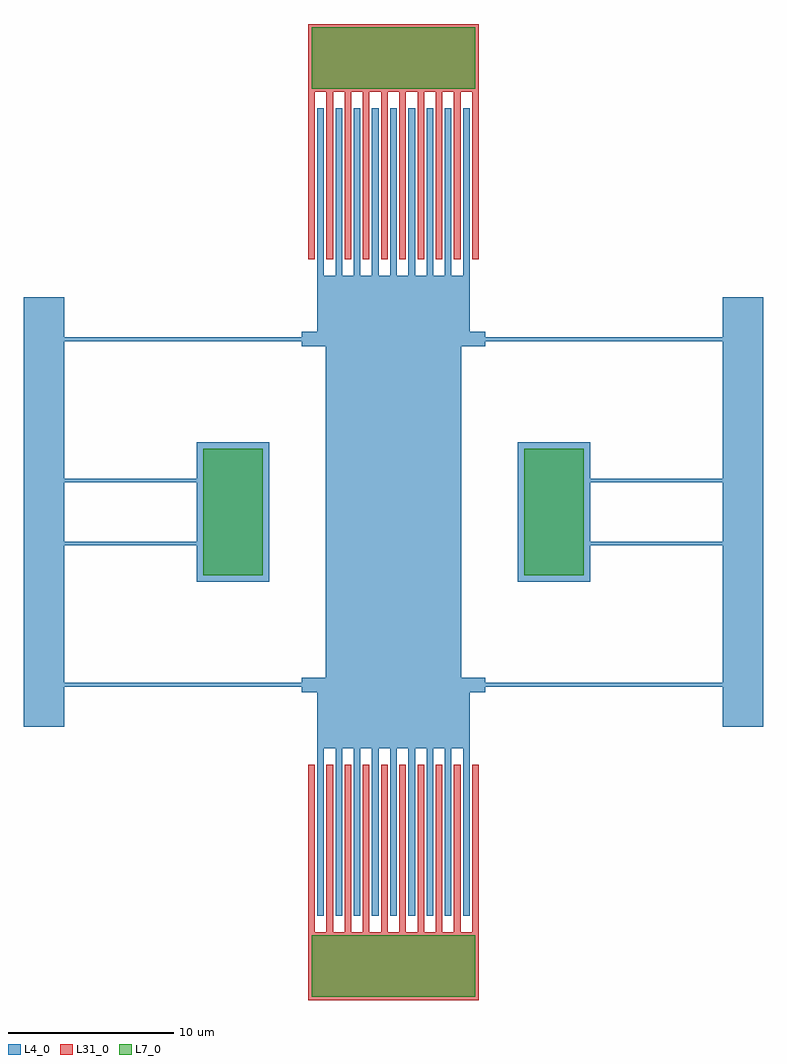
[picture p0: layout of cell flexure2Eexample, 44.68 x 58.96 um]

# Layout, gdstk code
import gdstk
lib = gdstk.Library(unit=1e-6, precision=1e-09)
def R(c, l, rs):  # rectangles x0, y0, x1, y1
    for r in rs: c.add(gdstk.rectangle(r[:2], r[2:], *l))
def P(c, l, *ps):  # polygons
    for p in ps: c.add(gdstk.Polygon(p, *l))
L4_0 = (4, 0)
L7_0 = (7, 0)
L31_0 = (31, 0)

flexure2eexample = lib.new_cell('flexure2Eexample')
P(flexure2eexample, L4_0, [(-22.34,-12.97),(-22.34,-10.33),(-5.54,-10.33),(19.9,-10.33),(19.9,-2),(11.9,-2),(11.9,-4.22),(7.5,-4.22),(7.5,-1.8),(19.9,-1.8),(19.9,1.8),(11.9,1.8),(11.9,-1.8),(7.5,-1.8),(7.5,4.22),(11.9,4.22),(11.9,2),(19.9,2),(19.9,10.33),(5.54,10.33),(5.54,10),(4.1,10),(4.1,-10),(5.54,-10),(5.54,-10.33),(-5.54,-10.33),(-5.54,-10),(-4.1,-10),(-4.1,10),(-5.54,10),(-5.54,10.33),(-19.9,10.33),(-19.9,2),(-11.9,2),(-11.9,4.22),(-7.5,4.22),(-7.5,-4.22),(-11.9,-4.22),(-11.9,-2),(-19.9,-2),(-19.9,-10.33),(-22.34,-10.33),(-22.34,-1.8),(-11.9,-1.8),(-11.9,1.8),(-19.9,1.8),(-19.9,-1.8),(-22.34,-1.8),(-22.34,12.97),(-19.9,12.97),(-19.9,10.55),(-5.54,10.55),(-5.54,10.88),(5.54,10.88),(5.54,10.55),(19.9,10.55),(19.9,12.97),(22.34,12.97),(22.34,-12.97),(19.9,-12.97),(19.9,-10.55),(5.54,-10.55),(5.54,-10.88),(-5.54,-10.88),(-5.54,-10.55),(-19.9,-10.55),(-19.9,-12.97)],
  [(-4.6,10.88),(-4.6,24.38),(-4.2,24.38),(-4.2,14.28),(-3.5,14.28),(-3.5,24.38),(-3.1,24.38),(-3.1,14.28),(-2.4,14.28),(-2.4,24.38),(-2,24.38),(-2,14.28),(-1.3,14.28),(-1.3,24.38),(-0.9,24.38),(-0.9,14.28),(-0.2,14.28),(-0.2,24.38),(0.2,24.38),(0.2,14.28),(0.9,14.28),(0.9,24.38),(1.3,24.38),(1.3,14.28),(2,14.28),(2,24.38),(2.4,24.38),(2.4,14.28),(3.1,14.28),(3.1,24.38),(3.5,24.38),(3.5,14.28),(4.2,14.28),(4.2,24.38),(4.6,24.38),(4.6,10.88)],
  [(-4.6,-24.38),(-4.6,-10.88),(4.6,-10.88),(4.6,-24.38),(4.2,-24.38),(4.2,-14.28),(3.5,-14.28),(3.5,-24.38),(3.1,-24.38),(3.1,-14.28),(2.4,-14.28),(2.4,-24.38),(2,-24.38),(2,-14.28),(1.3,-14.28),(1.3,-24.38),(0.9,-24.38),(0.9,-14.28),(0.2,-14.28),(0.2,-24.38),(-0.2,-24.38),(-0.2,-14.28),(-0.9,-14.28),(-0.9,-24.38),(-1.3,-24.38),(-1.3,-14.28),(-2,-14.28),(-2,-24.38),(-2.4,-24.38),(-2.4,-14.28),(-3.1,-14.28),(-3.1,-24.38),(-3.5,-24.38),(-3.5,-14.28),(-4.2,-14.28),(-4.2,-24.38)])
R(flexure2eexample, L7_0, [(-4.95,-29.28,4.95,-25.58), (-11.5,-3.82,-7.9,3.82), (7.9,-3.82,11.5,3.82), (-4.95,25.58,4.95,29.28)])
P(flexure2eexample, L31_0, [(-5.15,15.28),(-5.15,29.48),(5.15,29.48),(5.15,15.28),(4.75,15.28),(4.75,25.38),(4.05,25.38),(4.05,15.28),(3.65,15.28),(3.65,25.38),(2.95,25.38),(2.95,15.28),(2.55,15.28),(2.55,25.38),(1.85,25.38),(1.85,15.28),(1.45,15.28),(1.45,25.38),(0.75,25.38),(0.75,15.28),(0.35,15.28),(0.35,25.38),(-0.35,25.38),(-0.35,15.28),(-0.75,15.28),(-0.75,25.38),(-1.45,25.38),(-1.45,15.28),(-1.85,15.28),(-1.85,25.38),(-2.55,25.38),(-2.55,15.28),(-2.95,15.28),(-2.95,25.38),(-3.65,25.38),(-3.65,15.28),(-4.05,15.28),(-4.05,25.38),(-4.75,25.38),(-4.75,15.28)],
  [(-5.15,-29.48),(-5.15,-15.28),(-4.75,-15.28),(-4.75,-25.38),(-4.05,-25.38),(-4.05,-15.28),(-3.65,-15.28),(-3.65,-25.38),(-2.95,-25.38),(-2.95,-15.28),(-2.55,-15.28),(-2.55,-25.38),(-1.85,-25.38),(-1.85,-15.28),(-1.45,-15.28),(-1.45,-25.38),(-0.75,-25.38),(-0.75,-15.28),(-0.35,-15.28),(-0.35,-25.38),(0.35,-25.38),(0.35,-15.28),(0.75,-15.28),(0.75,-25.38),(1.45,-25.38),(1.45,-15.28),(1.85,-15.28),(1.85,-25.38),(2.55,-25.38),(2.55,-15.28),(2.95,-15.28),(2.95,-25.38),(3.65,-25.38),(3.65,-15.28),(4.05,-15.28),(4.05,-25.38),(4.75,-25.38),(4.75,-15.28),(5.15,-15.28),(5.15,-29.48)])

lib.write_gds('flexure2Eexample.gds')
